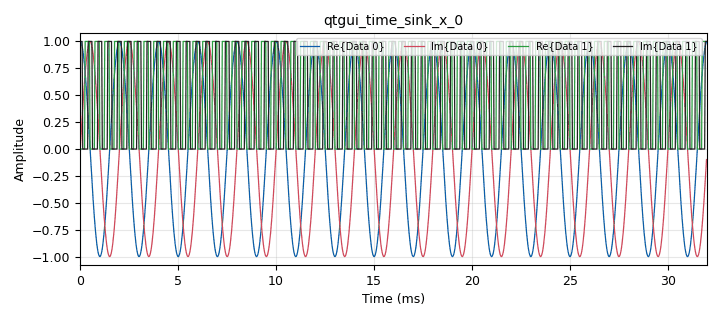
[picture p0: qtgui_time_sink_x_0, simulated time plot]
<?xml version='1.0' encoding='utf-8'?>
<?grc format='1' created='3.7.11'?>
<flow_graph>
<block>
<key>options</key>
<param><key>id</key><value>rdf_sim</value></param>
<param><key>author</key><value>Phil KM6NFS</value></param>
<param><key>generate_options</key><value>qt_gui</value></param>
<param><key>title</key><value>RDF Simulator</value></param>
</block>
<block>
<key>variable</key>
<param><key>id</key><value>freq</value></param>
<param><key>value</key><value>500</value></param>
</block>
<block>
<key>variable</key>
<param><key>id</key><value>samp_rate</value></param>
<param><key>value</key><value>32000</value></param>
</block>
<block>
<key>variable</key>
<param><key>id</key><value>shift</value></param>
<param><key>_enabled</key><value>0</value></param>
<param><key>value</key><value>shift_slider</value></param>
</block>
<block>
<key>variable_qtgui_range</key>
<param><key>id</key><value>shift_slider</value></param>
<param><key>value</key><value>0</value></param>
<param><key>orient</key><value>Qt.Horizontal</value></param>
<param><key>start</key><value>0</value></param>
<param><key>step</key><value>0.1</value></param>
<param><key>stop</key><value>2* math.pi</value></param>
<param><key>widget</key><value>slider</value></param>
</block>
<block>
<key>analog_sig_source_x</key>
<param><key>id</key><value>analog_sig_source_x_0</value></param>
<param><key>amp</key><value>1</value></param>
<param><key>freq</key><value>freq</value></param>
<param><key>offset</key><value>0</value></param>
<param><key>type</key><value>complex</value></param>
<param><key>samp_rate</key><value>samp_rate</value></param>
<param><key>waveform</key><value>analog.GR_COS_WAVE</value></param>
</block>
<block>
<key>analog_sig_source_x</key>
<param><key>id</key><value>analog_sig_source_x_1</value></param>
<param><key>amp</key><value>1</value></param>
<param><key>freq</key><value>freq * 4</value></param>
<param><key>offset</key><value>0</value></param>
<param><key>type</key><value>complex</value></param>
<param><key>samp_rate</key><value>samp_rate</value></param>
<param><key>waveform</key><value>analog.GR_SQR_WAVE</value></param>
</block>
<block>
<key>blocks_complex_to_mag</key>
<param><key>id</key><value>blocks_complex_to_mag_0</value></param>
<param><key>_enabled</key><value>0</value></param>
</block>
<block>
<key>blocks_float_to_char</key>
<param><key>id</key><value>blocks_float_to_char_0</value></param>
<param><key>_enabled</key><value>0</value></param>
<param><key>scale</key><value>1</value></param>
</block>
<block>
<key>blocks_multiply_const_vxx</key>
<param><key>id</key><value>blocks_multiply_const_vxx_0</value></param>
<param><key>const</key><value>complex(math.cos(shift_slider),math.sin(shift_slider))</value></param>
<param><key>type</key><value>complex</value></param>
</block>
<block>
<key>blocks_threshold_ff</key>
<param><key>id</key><value>blocks_threshold_ff_0</value></param>
<param><key>_enabled</key><value>0</value></param>
<param><key>high</key><value>100</value></param>
<param><key>init</key><value>0</value></param>
<param><key>low</key><value>-100</value></param>
</block>
<block>
<key>blocks_throttle</key>
<param><key>id</key><value>blocks_throttle_0</value></param>
<param><key>samples_per_second</key><value>samp_rate</value></param>
<param><key>type</key><value>complex</value></param>
</block>
<block>
<key>blocks_throttle</key>
<param><key>id</key><value>blocks_throttle_0_0</value></param>
<param><key>samples_per_second</key><value>samp_rate</value></param>
<param><key>type</key><value>complex</value></param>
</block>
<block>
<key>blocks_throttle</key>
<param><key>id</key><value>blocks_throttle_0_0_0</value></param>
<param><key>_enabled</key><value>0</value></param>
<param><key>samples_per_second</key><value>samp_rate</value></param>
<param><key>type</key><value>complex</value></param>
</block>
<block>
<key>epy_block</key>
<param><key>id</key><value>epy_block_0</value></param>
<param><key>_source_code</key><value>"""
Embedded Python Blocks:

Each time this file is saved, GRC will instantiate the first class it finds
to get ports and parameters of your block. The arguments to __init__  will
be the parameters. All of them are required to have default values!
"""

import numpy as np
from gnuradio import gr


class blk(gr.sync_block):  # other base classes are basic_block, decim_block, interp_block
    """Embedded Python Block example - a simple multiply const"""

    def __init__(self, example_param=1.0):  # only default arguments here
        """arguments to this function show up as parameters in GRC"""
        gr.sync_block.__init__(
            self,
            name='Embedded Python Block',   # will show up in GRC
            in_sig=[np.complex64, np.complex64],
            out_sig=[np.complex64]
        )
        # if an attribute with the same name as a parameter is found,
        # a callback is registered (properties work, too).
        self.example_param = example_param

    def work(self, input_items, output_items):
        """example: multiply with constant"""
        output_items[0][:] = input_items[0] * self.example_param
        return len(output_items[0])
</value></param>
<param><key>_enabled</key><value>0</value></param>
<param><key>example_param</key><value>2.0</value></param>
</block>
<block>
<key>epy_module</key>
<param><key>id</key><value>epy_module_0</value></param>
<param><key>source_code</key><value># this module will be imported in the into your flowgraph</value></param>
<param><key>_enabled</key><value>0</value></param>
</block>
<block>
<key>import</key>
<param><key>id</key><value>import_0</value></param>
<param><key>import</key><value>import math</value></param>
</block>
<block>
<key>qtgui_time_sink_x</key>
<param><key>id</key><value>qtgui_time_sink_x_0</value></param>
<param><key>ctrlpanel</key><value>True</value></param>
<param><key>color1</key><value>"blue"</value></param>
<param><key>label1</key><value></value></param>
<param><key>color2</key><value>"red"</value></param>
<param><key>label2</key><value></value></param>
<param><key>color3</key><value>"green"</value></param>
<param><key>label3</key><value></value></param>
<param><key>color4</key><value>"black"</value></param>
<param><key>label4</key><value></value></param>
<param><key>nconnections</key><value>2</value></param>
<param><key>size</key><value>1024</value></param>
<param><key>srate</key><value>samp_rate</value></param>
<param><key>type</key><value>complex</value></param>
</block>
<block>
<key>wxgui_termsink</key>
<param><key>id</key><value>wxgui_termsink_0</value></param>
<param><key>_enabled</key><value>0</value></param>
</block>
<connection><source_block_id>analog_sig_source_x_0</source_block_id><sink_block_id>blocks_complex_to_mag_0</sink_block_id><source_key>0</source_key><sink_key>0</sink_key></connection>
<connection><source_block_id>analog_sig_source_x_0</source_block_id><sink_block_id>blocks_throttle_0</sink_block_id><source_key>0</source_key><sink_key>0</sink_key></connection>
<connection><source_block_id>analog_sig_source_x_1</source_block_id><sink_block_id>blocks_throttle_0_0</sink_block_id><source_key>0</source_key><sink_key>0</sink_key></connection>
<connection><source_block_id>analog_sig_source_x_1</source_block_id><sink_block_id>epy_block_0</sink_block_id><source_key>0</source_key><sink_key>0</sink_key></connection>
<connection><source_block_id>analog_sig_source_x_1</source_block_id><sink_block_id>epy_block_0</sink_block_id><source_key>0</source_key><sink_key>1</sink_key></connection>
<connection><source_block_id>blocks_complex_to_mag_0</source_block_id><sink_block_id>blocks_threshold_ff_0</sink_block_id><source_key>0</source_key><sink_key>0</sink_key></connection>
<connection><source_block_id>blocks_float_to_char_0</source_block_id><sink_block_id>wxgui_termsink_0</sink_block_id><source_key>0</source_key><sink_key>msg</sink_key></connection>
<connection><source_block_id>blocks_multiply_const_vxx_0</source_block_id><sink_block_id>qtgui_time_sink_x_0</sink_block_id><source_key>0</source_key><sink_key>0</sink_key></connection>
<connection><source_block_id>blocks_threshold_ff_0</source_block_id><sink_block_id>blocks_float_to_char_0</sink_block_id><source_key>0</source_key><sink_key>0</sink_key></connection>
<connection><source_block_id>blocks_throttle_0</source_block_id><sink_block_id>blocks_multiply_const_vxx_0</sink_block_id><source_key>0</source_key><sink_key>0</sink_key></connection>
<connection><source_block_id>blocks_throttle_0_0</source_block_id><sink_block_id>qtgui_time_sink_x_0</sink_block_id><source_key>0</source_key><sink_key>1</sink_key></connection>
<connection><source_block_id>epy_block_0</source_block_id><sink_block_id>blocks_throttle_0_0_0</sink_block_id><source_key>0</source_key><sink_key>0</sink_key></connection>
</flow_graph>
